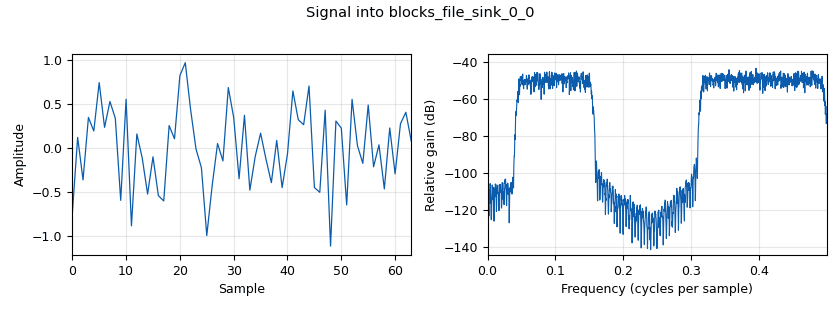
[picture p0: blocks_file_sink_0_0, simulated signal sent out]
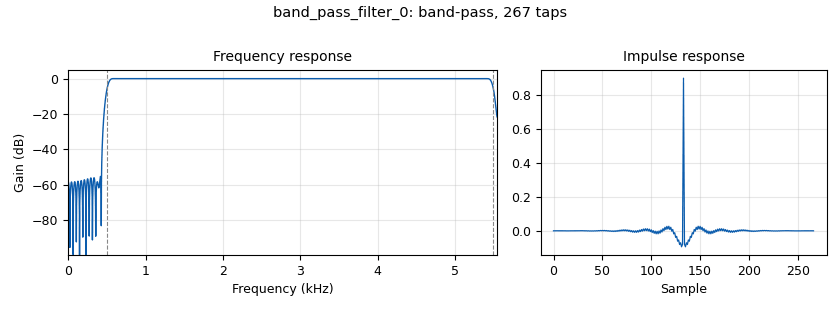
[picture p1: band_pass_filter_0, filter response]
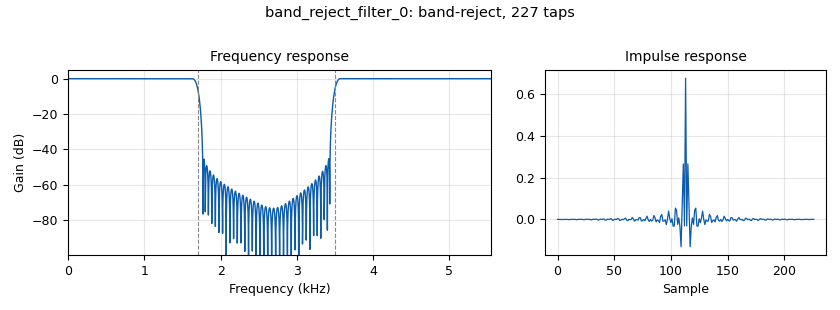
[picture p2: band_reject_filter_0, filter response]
<?xml version='1.0' encoding='utf-8'?>
<?grc format='1' created='3.7.9'?>
<flow_graph>
<block>
<key>options</key>
<param><key>id</key><value>top_block</value></param>
<param><key>category</key><value>Custom</value></param>
<param><key>generate_options</key><value>no_gui</value></param>
<param><key>run_options</key><value>run</value></param>
</block>
<block>
<key>variable</key>
<param><key>id</key><value>num_seconds</value></param>
<param><key>value</key><value>3</value></param>
</block>
<block>
<key>variable</key>
<param><key>id</key><value>results_dir</value></param>
<param><key>comment</key><value>Where to write the result files</value></param>
<param><key>value</key><value>"/home/cjam/Documents/colter-thesis-results/"</value></param>
</block>
<block>
<key>variable</key>
<param><key>id</key><value>samp_rate</value></param>
<param><key>comment</key><value>Optimal Sampling Rate</value></param>
<param><key>value</key><value>11100</value></param>
</block>
<block>
<key>variable</key>
<param><key>id</key><value>samp_rate</value></param>
<param><key>comment</key><value>Optimal Sampling Rate</value></param>
<param><key>_enabled</key><value>0</value></param>
<param><key>value</key><value>20000</value></param>
</block>
<block>
<key>variable</key>
<param><key>id</key><value>signal_name</value></param>
<param><key>value</key><value>"shaped_noise_"+str(samp_rate/1000)+"khz"</value></param>
</block>
<block>
<key>analog_fastnoise_source_x</key>
<param><key>id</key><value>analog_fastnoise_source_x_0</value></param>
<param><key>amp</key><value>1</value></param>
<param><key>noise_type</key><value>analog.GR_UNIFORM</value></param>
<param><key>type</key><value>float</value></param>
<param><key>seed</key><value>0</value></param>
<param><key>samples</key><value>8192</value></param>
</block>
<block>
<key>band_pass_filter</key>
<param><key>id</key><value>band_pass_filter_0</value></param>
<param><key>type</key><value>interp_fir_filter_fff</value></param>
<param><key>gain</key><value>1</value></param>
<param><key>high_cutoff_freq</key><value>5500</value></param>
<param><key>interp</key><value>1</value></param>
<param><key>low_cutoff_freq</key><value>500</value></param>
<param><key>samp_rate</key><value>samp_rate</value></param>
<param><key>width</key><value>100</value></param>
<param><key>win</key><value>firdes.WIN_HAMMING</value></param>
</block>
<block>
<key>band_reject_filter</key>
<param><key>id</key><value>band_reject_filter_0</value></param>
<param><key>beta</key><value>4</value></param>
<param><key>type</key><value>interp_fir_filter_fff</value></param>
<param><key>gain</key><value>1</value></param>
<param><key>high_cutoff_freq</key><value>3500</value></param>
<param><key>interp</key><value>1</value></param>
<param><key>low_cutoff_freq</key><value>1700</value></param>
<param><key>samp_rate</key><value>samp_rate</value></param>
<param><key>width</key><value>100</value></param>
<param><key>win</key><value>firdes.WIN_KAISER</value></param>
</block>
<block>
<key>blocks_file_sink</key>
<param><key>id</key><value>blocks_file_sink_0_0</value></param>
<param><key>comment</key><value>Record the shaped noise</value></param>
<param><key>file</key><value>results_dir+signal_name+".dat"</value></param>
<param><key>type</key><value>float</value></param>
</block>
<block>
<key>blocks_head</key>
<param><key>id</key><value>blocks_head_0</value></param>
<param><key>comment</key><value>Capture and output
2 seconds of noise</value></param>
<param><key>num_items</key><value>samp_rate*num_seconds</value></param>
<param><key>type</key><value>float</value></param>
</block>
<block>
<key>blocks_throttle</key>
<param><key>id</key><value>blocks_throttle_0</value></param>
<param><key>samples_per_second</key><value>samp_rate</value></param>
<param><key>type</key><value>float</value></param>
</block>
<block>
<key>note</key>
<param><key>id</key><value>note_0</value></param>
<param><key>comment</key><value>Take uniform white noise and shape it using
a combination of bandpass and band reject filters.

This allows the effect of TCOLA to be seen more
easily on the spectrum of the shaped noise.</value></param>
<param><key>note</key><value>Shaped Noise</value></param>
</block>
<block>
<key>tcola_process_record</key>
<param><key>id</key><value>tcola_process_record_0</value></param>
<param><key>tcola_r</key><value>1</value></param>
<param><key>name</key><value>signal_name</value></param>
<param><key>results_dir</key><value>results_dir</value></param>
<param><key>tcola_m</key><value>2</value></param>
</block>
<block>
<key>tcola_process_record</key>
<param><key>id</key><value>tcola_process_record_0_0</value></param>
<param><key>tcola_r</key><value>1</value></param>
<param><key>name</key><value>signal_name</value></param>
<param><key>results_dir</key><value>results_dir</value></param>
<param><key>tcola_m</key><value>4</value></param>
</block>
<block>
<key>tcola_process_record</key>
<param><key>id</key><value>tcola_process_record_0_0_0</value></param>
<param><key>tcola_r</key><value>16</value></param>
<param><key>name</key><value>signal_name</value></param>
<param><key>results_dir</key><value>results_dir</value></param>
<param><key>tcola_m</key><value>32</value></param>
</block>
<block>
<key>tcola_process_record</key>
<param><key>id</key><value>tcola_process_record_0_1</value></param>
<param><key>tcola_r</key><value>1</value></param>
<param><key>name</key><value>signal_name</value></param>
<param><key>results_dir</key><value>results_dir</value></param>
<param><key>tcola_m</key><value>16</value></param>
</block>
<block>
<key>tcola_process_record</key>
<param><key>id</key><value>tcola_process_record_0_1_0</value></param>
<param><key>tcola_r</key><value>1</value></param>
<param><key>name</key><value>signal_name</value></param>
<param><key>results_dir</key><value>results_dir</value></param>
<param><key>tcola_m</key><value>200</value></param>
</block>
<block>
<key>tcola_process_record</key>
<param><key>id</key><value>tcola_process_record_0_1_0_0</value></param>
<param><key>tcola_r</key><value>1</value></param>
<param><key>name</key><value>signal_name</value></param>
<param><key>results_dir</key><value>results_dir</value></param>
<param><key>tcola_m</key><value>400</value></param>
</block>
<block>
<key>tcola_process_record</key>
<param><key>id</key><value>tcola_process_record_0_1_0_1</value></param>
<param><key>tcola_r</key><value>2</value></param>
<param><key>name</key><value>signal_name</value></param>
<param><key>results_dir</key><value>results_dir</value></param>
<param><key>tcola_m</key><value>32</value></param>
</block>
<block>
<key>tcola_process_record</key>
<param><key>id</key><value>tcola_process_record_0_1_1</value></param>
<param><key>tcola_r</key><value>1</value></param>
<param><key>name</key><value>signal_name</value></param>
<param><key>results_dir</key><value>results_dir</value></param>
<param><key>tcola_m</key><value>64</value></param>
</block>
<block>
<key>tcola_process_record</key>
<param><key>id</key><value>tcola_process_record_0_1_1_0</value></param>
<param><key>tcola_r</key><value>4</value></param>
<param><key>name</key><value>signal_name</value></param>
<param><key>results_dir</key><value>results_dir</value></param>
<param><key>tcola_m</key><value>32</value></param>
</block>
<block>
<key>tcola_process_record</key>
<param><key>id</key><value>tcola_process_record_0_1_2</value></param>
<param><key>tcola_r</key><value>8</value></param>
<param><key>name</key><value>signal_name</value></param>
<param><key>results_dir</key><value>results_dir</value></param>
<param><key>tcola_m</key><value>32</value></param>
</block>
<block>
<key>virtual_sink</key>
<param><key>id</key><value>virtual_sink_0</value></param>
<param><key>stream_id</key><value>shaped_noise</value></param>
</block>
<block>
<key>virtual_source</key>
<param><key>id</key><value>virtual_source_0</value></param>
<param><key>stream_id</key><value>shaped_noise</value></param>
</block>
<block>
<key>virtual_source</key>
<param><key>id</key><value>virtual_source_0_0</value></param>
<param><key>comment</key><value>Record TCOLA processing of shaped noise
for various combinations of M and R</value></param>
<param><key>stream_id</key><value>shaped_noise</value></param>
</block>
<connection><source_block_id>analog_fastnoise_source_x_0</source_block_id><sink_block_id>blocks_head_0</sink_block_id><source_key>0</source_key><sink_key>0</sink_key></connection>
<connection><source_block_id>band_pass_filter_0</source_block_id><sink_block_id>band_reject_filter_0</sink_block_id><source_key>0</source_key><sink_key>0</sink_key></connection>
<connection><source_block_id>band_reject_filter_0</source_block_id><sink_block_id>blocks_throttle_0</sink_block_id><source_key>0</source_key><sink_key>0</sink_key></connection>
<connection><source_block_id>blocks_head_0</source_block_id><sink_block_id>band_pass_filter_0</sink_block_id><source_key>0</source_key><sink_key>0</sink_key></connection>
<connection><source_block_id>blocks_throttle_0</source_block_id><sink_block_id>virtual_sink_0</sink_block_id><source_key>0</source_key><sink_key>0</sink_key></connection>
<connection><source_block_id>virtual_source_0</source_block_id><sink_block_id>blocks_file_sink_0_0</sink_block_id><source_key>0</source_key><sink_key>0</sink_key></connection>
<connection><source_block_id>virtual_source_0_0</source_block_id><sink_block_id>tcola_process_record_0</sink_block_id><source_key>0</source_key><sink_key>0</sink_key></connection>
<connection><source_block_id>virtual_source_0_0</source_block_id><sink_block_id>tcola_process_record_0_0</sink_block_id><source_key>0</source_key><sink_key>0</sink_key></connection>
<connection><source_block_id>virtual_source_0_0</source_block_id><sink_block_id>tcola_process_record_0_0_0</sink_block_id><source_key>0</source_key><sink_key>0</sink_key></connection>
<connection><source_block_id>virtual_source_0_0</source_block_id><sink_block_id>tcola_process_record_0_1</sink_block_id><source_key>0</source_key><sink_key>0</sink_key></connection>
<connection><source_block_id>virtual_source_0_0</source_block_id><sink_block_id>tcola_process_record_0_1_0</sink_block_id><source_key>0</source_key><sink_key>0</sink_key></connection>
<connection><source_block_id>virtual_source_0_0</source_block_id><sink_block_id>tcola_process_record_0_1_0_0</sink_block_id><source_key>0</source_key><sink_key>0</sink_key></connection>
<connection><source_block_id>virtual_source_0_0</source_block_id><sink_block_id>tcola_process_record_0_1_0_1</sink_block_id><source_key>0</source_key><sink_key>0</sink_key></connection>
<connection><source_block_id>virtual_source_0_0</source_block_id><sink_block_id>tcola_process_record_0_1_1</sink_block_id><source_key>0</source_key><sink_key>0</sink_key></connection>
<connection><source_block_id>virtual_source_0_0</source_block_id><sink_block_id>tcola_process_record_0_1_1_0</sink_block_id><source_key>0</source_key><sink_key>0</sink_key></connection>
<connection><source_block_id>virtual_source_0_0</source_block_id><sink_block_id>tcola_process_record_0_1_2</sink_block_id><source_key>0</source_key><sink_key>0</sink_key></connection>
</flow_graph>
